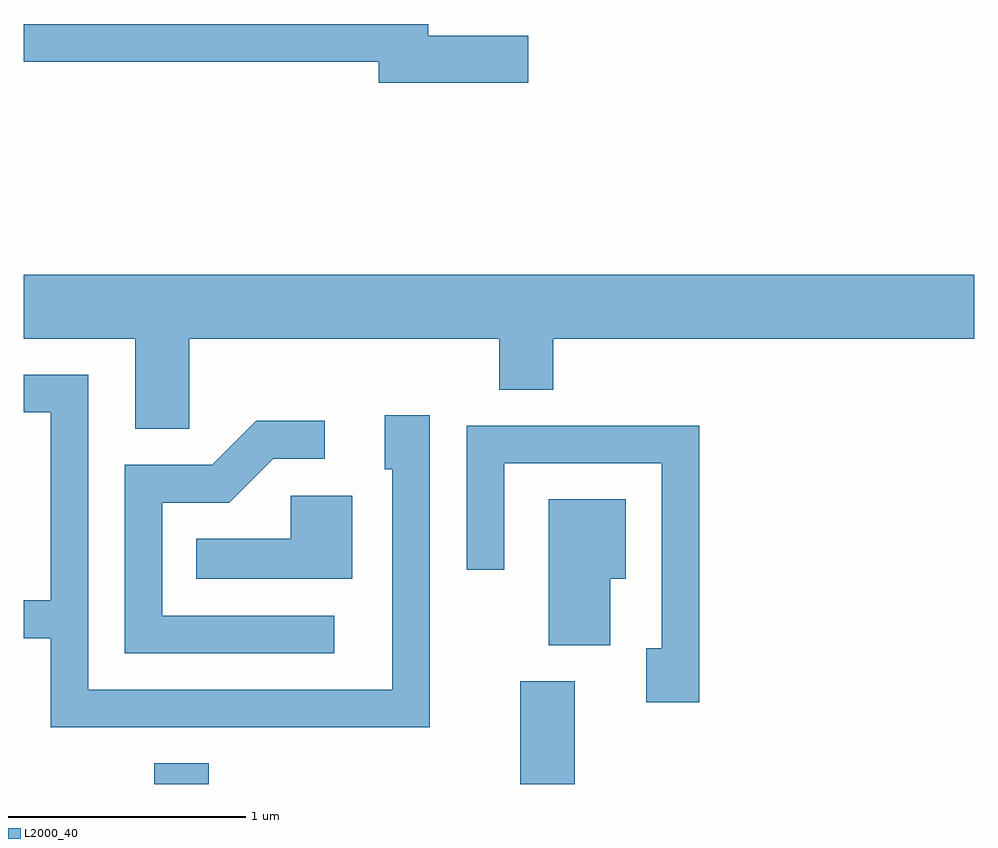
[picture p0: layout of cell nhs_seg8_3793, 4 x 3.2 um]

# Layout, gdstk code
import gdstk
lib = gdstk.Library(unit=1e-6, precision=1e-09)
def R(c, l, rs):  # rectangles x0, y0, x1, y1
    for r in rs: c.add(gdstk.rectangle(r[:2], r[2:], *l))
def P(c, l, *ps):  # polygons
    for p in ps: c.add(gdstk.Polygon(p, *l))
L2000_40 = (2000, 40)

nhs_seg8_3793 = lib.new_cell('nhs_seg8_3793')
R(nhs_seg8_3793, L2000_40, [(300.161,1812.342,300.389,1812.429), (301.701,1812.342,301.929,1812.774)])
P(nhs_seg8_3793, L2000_40, [(301.734,1815.489),(301.314,1815.489),(301.314,1815.539),(299.611,1815.539),(299.611,1815.381),(301.106,1815.381),(301.106,1815.291),(301.734,1815.291)],
  [(300.309,1814.216),(301.611,1814.216),(301.611,1814.001),(301.839,1814.001),(301.839,1814.216),(303.611,1814.216),(303.611,1814.484),(299.611,1814.484),(299.611,1814.216),(300.081,1814.216),(300.081,1813.836),(300.309,1813.836)],
  [(301.319,1813.894),(301.131,1813.894),(301.131,1813.666),(301.161,1813.666),(301.161,1812.739),(299.884,1812.739),(299.884,1814.064),(299.611,1814.064),(299.611,1813.906),(299.726,1813.906),(299.726,1813.114),(299.611,1813.114),(299.611,1812.956),(299.726,1812.956),(299.726,1812.581),(301.319,1812.581)],
  [(300.918,1813.049),(300.194,1813.049),(300.194,1813.526),(300.477,1813.526),(300.662,1813.711),(300.878,1813.711),(300.878,1813.869),(300.589,1813.869),(300.404,1813.684),(300.036,1813.684),(300.036,1812.891),(300.918,1812.891)],
  [(302.454,1813.849),(301.476,1813.849),(301.476,1813.243),(301.634,1813.243),(301.634,1813.691),(302.296,1813.691),(302.296,1812.914),(302.231,1812.914),(302.231,1812.686),(302.454,1812.686)],
  [(300.994,1813.554),(300.736,1813.554),(300.736,1813.374),(300.338,1813.374),(300.338,1813.206),(300.994,1813.206)],
  [(302.079,1813.206),(302.144,1813.206),(302.144,1813.539),(301.821,1813.539),(301.821,1812.926),(302.079,1812.926)])

lib.write_gds('nhs_seg8_3793.gds')
